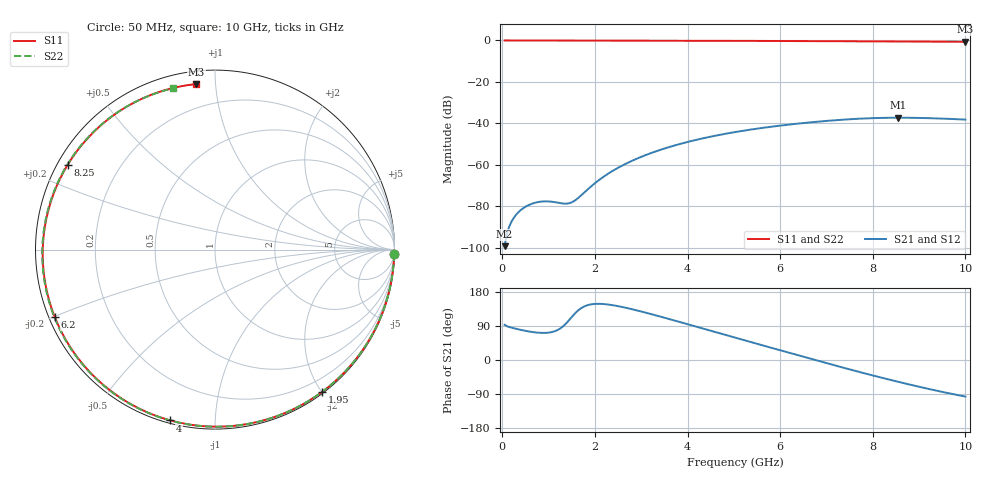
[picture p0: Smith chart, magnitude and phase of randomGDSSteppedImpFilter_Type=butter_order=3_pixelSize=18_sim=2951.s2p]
! freq	dB(S11)	phase(S11)	dB(S12)	phase(S12)
!  dB(S21)	phase(S21)	dB(S22)	phase(S22)
!S-par simulation data
#  GHz  S  DB  R 50
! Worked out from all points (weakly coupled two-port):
!   200 points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, 50 MHz to 10 GHz, reference 50 ohm
!   highest |S21| = -37.28 dB at 8.55 GHz (marker M1); lowest = -99.3 dB at 50 MHz (marker M2)
!   lowest |S11| = -0.7 dB at 10 GHz (marker M3), VSWR 26.71, Z = 3.36 + j44.6 ohm
!   |S11| at or under -10 dB: nowhere
!   |S22| runs from -0.6 to 0.0 dB; largest |S21 - S12| = 0
!   S11 on the Smith chart (normalised r, x): 50 MHz: 2, -85; 1.95 GHz: 0.02, -2.00; 4 GHz: 0.01, -0.77; 6.2 GHz: 0.02, -0.20; 8.25 GHz: 0.03, +0.27; 10 GHz: 0.07, +0.89
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0.05  -0.00 -1.3  -99.27 92.8  -99.27 92.8  -0.01 -1.4
0.5  -0.02 -13.9  -80.27 76.9  -80.27 76.9  -0.02 -14.9
0.7  -0.03 -19.4  -78.37 73.0  -78.37 73.0  -0.03 -20.9
0.9  -0.03 -24.9  -77.67 71.4  -77.67 71.4  -0.03 -26.8
1.4  -0.05 -38.5  -78.73 99.4  -78.73 99.4  -0.05 -41.3
1.55  -0.05 -42.5  -77.50 120.4  -77.50 120.4  -0.06 -45.6
1.75  -0.06 -47.8  -73.80 140.1  -73.80 140.1  -0.06 -51.2
1.95  -0.07 -53.1  -69.82 147.4  -69.82 147.4  -0.07 -56.8
2.25  -0.08 -61.0  -64.81 146.9  -64.81 146.9  -0.08 -65.1
2.6  -0.09 -70.0  -60.25 139.6  -60.25 139.6  -0.09 -74.5
3.4  -0.12 -90.0  -52.88 115.0  -52.88 115.0  -0.12 -95.1
4  -0.14 -104.7  -48.99 94.5  -48.99 94.5  -0.14 -109.9
5.05  -0.20 -129.7  -44.13 58.1  -44.13 58.1  -0.19 -134.6
5.65  -0.24 -143.9  -42.10 37.6  -42.10 37.6  -0.23 -148.3
6.2  -0.28 -157.1  -40.58 18.9  -40.58 18.9  -0.27 -160.8
6.7  -0.32 -169.3  -39.43 2.0  -39.43 2.0  -0.31 -172.2
7.5  -0.39 170.4  -38.02 -24.8  -38.02 -24.8  -0.37 169.2
8.25  -0.47 150.1  -37.35 -48.5  -37.35 -48.5  -0.45 151.1
8.35  -0.48 147.3  -37.31 -51.6  -37.31 -51.6  -0.46 148.6
8.55  -0.50 141.5  -37.28 -57.6  -37.28 -57.6  -0.48 143.6
9.35  -0.59 117.4  -37.59 -80.2  -37.59 -80.2  -0.57 122.6
10  -0.65 96.4  -38.19 -96.5  -38.19 -96.5  -0.64 104.6
